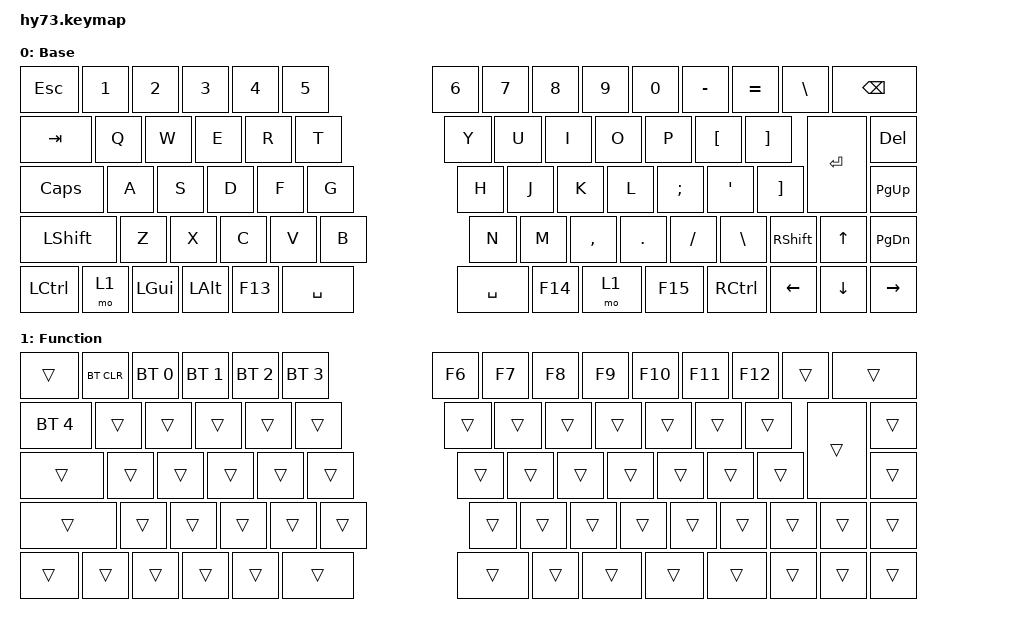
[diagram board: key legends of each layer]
#include <behaviors.dtsi>
#include <dt-bindings/zmk/bt.h>
#include <dt-bindings/zmk/keys.h>

/ {
    keymap {
        compatible = "zmk,keymap";

        base_layer {
            display-name = "Base";
            bindings = <
                &kp ESC            &kp N1             &kp N2             &kp N3             &kp N4             &kp N5
                &kp TAB            &kp Q              &kp W              &kp E              &kp R              &kp T
                &kp CAPS           &kp A              &kp S              &kp D              &kp F              &kp G
                &kp LSHFT          &kp Z              &kp X              &kp C              &kp V              &kp B
                &kp LCTRL          &mo 1              &kp LGUI           &kp LALT           &kp F13            &kp SPACE
                &kp N6             &kp N7             &kp N8             &kp N9             &kp N0             &kp MINUS          &kp EQUAL          &kp BSLH           &kp BSPC
                &kp Y              &kp U              &kp I              &kp O              &kp P              &kp LBKT           &kp RBKT           &kp ENTER          &kp DELETE
                &kp H              &kp J              &kp K              &kp L              &kp SEMI           &kp SQT            &kp RBKT           &kp PAGE_UP
                &kp N              &kp M              &kp COMMA          &kp DOT            &kp FSLH           &kp BSLH           &kp RSHFT          &kp UP_ARROW       &kp PAGE_DOWN
                &kp SPACE          &kp F14            &mo 1              &kp F15            &kp RCTRL          &kp LEFT_ARROW     &kp DOWN_ARROW     &kp RIGHT_ARROW
            >;
        };

        function_layer {
            display-name = "Function";
            bindings = <
                &trans             &bt BT_CLR         &bt BT_SEL 0       &bt BT_SEL 1       &bt BT_SEL 2       &bt BT_SEL 3
                &bt BT_SEL 4       &trans             &trans             &trans             &trans             &trans
                &trans             &trans             &trans             &trans             &trans             &trans
                &trans             &trans             &trans             &trans             &trans             &trans
                &trans             &trans             &trans             &trans             &trans             &trans
                &kp F6             &kp F7             &kp F8             &kp F9             &kp F10            &kp F11            &kp F12            &trans             &trans
                &trans             &trans             &trans             &trans             &trans             &trans             &trans             &trans             &trans
                &trans             &trans             &trans             &trans             &trans             &trans             &trans             &trans
                &trans             &trans             &trans             &trans             &trans             &trans             &trans             &trans             &trans
                &trans             &trans             &trans             &trans             &trans             &trans             &trans             &trans
            >;
        };

        studio_layer_2 {
            status = "reserved";
        };

        studio_layer_3 {
            status = "reserved";
        };
    };
};
